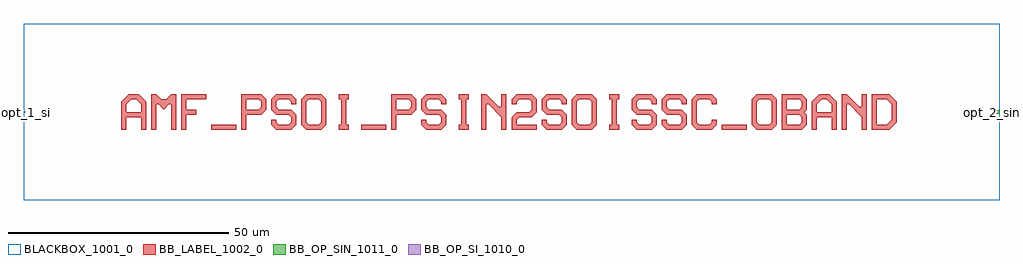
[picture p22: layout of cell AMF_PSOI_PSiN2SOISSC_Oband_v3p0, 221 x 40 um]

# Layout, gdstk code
import gdstk
lib = gdstk.Library(unit=1e-6, precision=1e-09)
def R(c, l, rs):  # rectangles x0, y0, x1, y1
    for r in rs: c.add(gdstk.rectangle(r[:2], r[2:], *l))
def P(c, l, *ps):  # polygons
    for p in ps: c.add(gdstk.Polygon(p, *l))
BLACKBOX_1001_0 = (1001, 0)
BB_LABEL_1002_0 = (1002, 0)
BB_OP_SI_1010_0 = (1010, 0)
BB_OP_SIN_1011_0 = (1011, 0)

amf_psoi_psin2soissc_oba = lib.new_cell('AMF_PSOI_PSiN2SOISSC_Oband_v3p0')
R(amf_psoi_psin2soissc_oba, BLACKBOX_1001_0, [(0,-20,221,20)])
R(amf_psoi_psin2soissc_oba, BB_LABEL_1002_0, [(42.5,-3.967,48.167,-2.834), (76.5,-3.967,82.167,-2.834), (158.1,-3.967,163.767,-2.834)])
P(amf_psoi_psin2soissc_oba, BB_LABEL_1002_0, [(22.1,-3.967),(22.1,2.266),(23.8,3.966),(26.067,3.966),(27.2,2.833),(24.367,2.833),(23.233,1.7),(23.233,0),(26.633,0),(26.633,1.7),(25.5,2.833),(27.2,2.833),(27.767,2.266),(27.767,-3.967),(26.633,-3.967),(26.633,-1.134),(23.233,-1.134),(23.233,-3.967)],
  [(28.9,-3.967),(28.9,3.966),(30.033,3.966),(31.167,2.833),(32.3,2.833),(33.433,3.966),(34.567,3.966),(34.567,-3.967),(33.433,-3.967),(33.433,1.7),(32.867,1.7),(31.733,0.566),(30.6,1.7),(30.033,1.7),(30.033,-3.967)],
  [(35.7,-3.967),(35.7,3.966),(41.367,3.966),(41.367,2.833),(36.833,2.833),(36.833,0.566),(39.1,0.566),(39.1,-0.567),(36.833,-0.567),(36.833,-3.967)],
  [(49.3,-3.967),(49.3,3.966),(53.833,3.966),(54.967,2.833),(54.967,0.566),(53.833,-0.567),(50.433,-0.567),(50.433,0.566),(53.267,0.566),(53.833,1.133),(53.833,2.266),(53.267,2.833),(50.433,2.833),(50.433,-3.967)],
  [(57.233,-3.967),(56.1,-2.834),(56.1,-1.7),(57.233,-1.7),(57.233,-2.267),(57.8,-2.834),(60.067,-2.834),(60.633,-2.267),(60.633,-1.134),(60.067,-0.567),(57.233,-0.567),(56.1,0.566),(56.1,2.833),(57.233,3.966),(60.633,3.966),(61.767,2.833),(61.767,1.7),(60.633,1.7),(60.633,2.266),(60.067,2.833),(57.8,2.833),(57.233,2.266),(57.233,1.133),(57.8,0.566),(60.633,0.566),(61.767,-0.567),(61.767,-2.834),(60.633,-3.967)],
  [(64.033,-3.967),(62.9,-2.834),(62.9,2.833),(64.033,3.966),(67.433,3.966),(68.567,2.833),(68.567,0),(67.433,0),(67.433,2.266),(66.867,2.833),(64.6,2.833),(64.033,2.266),(64.033,-2.267),(64.6,-2.834),(66.867,-2.834),(67.433,-2.267),(67.433,0),(68.567,0),(68.567,-2.834),(67.433,-3.967)],
  [(71.4,-3.967),(71.4,-2.834),(71.967,-2.834),(71.967,2.833),(71.4,2.833),(71.4,3.966),(73.667,3.966),(73.667,2.833),(73.1,2.833),(73.1,-2.834),(73.667,-2.834),(73.667,-3.967)],
  [(83.3,-3.967),(83.3,3.966),(87.833,3.966),(88.967,2.833),(88.967,0.566),(87.833,-0.567),(84.433,-0.567),(84.433,0.566),(87.267,0.566),(87.833,1.133),(87.833,2.266),(87.267,2.833),(84.433,2.833),(84.433,-3.967)],
  [(91.233,-3.967),(90.1,-2.834),(90.1,-1.7),(91.233,-1.7),(91.233,-2.267),(91.8,-2.834),(94.067,-2.834),(94.633,-2.267),(94.633,-1.134),(94.067,-0.567),(91.233,-0.567),(90.1,0.566),(90.1,2.833),(91.233,3.966),(94.633,3.966),(95.767,2.833),(95.767,1.7),(94.633,1.7),(94.633,2.266),(94.067,2.833),(91.8,2.833),(91.233,2.266),(91.233,1.133),(91.8,0.566),(94.633,0.566),(95.767,-0.567),(95.767,-2.834),(94.633,-3.967)],
  [(98.6,-3.967),(98.6,-2.834),(99.167,-2.834),(99.167,2.833),(98.6,2.833),(98.6,3.966),(100.867,3.966),(100.867,2.833),(100.3,2.833),(100.3,-2.834),(100.867,-2.834),(100.867,-3.967)],
  [(103.7,-3.967),(103.7,3.966),(104.833,3.966),(107.667,1.133),(108.233,1.133),(108.233,3.966),(109.367,3.966),(109.367,-3.967),(108.233,-3.967),(108.233,-1.134),(105.4,1.7),(104.833,1.7),(104.833,-3.967)],
  [(110.5,-3.967),(110.5,-1.134),(111.633,0),(114.467,0),(115.033,0.566),(115.033,2.266),(114.467,2.833),(112.2,2.833),(111.633,2.266),(111.633,1.7),(110.5,1.7),(110.5,2.833),(111.633,3.966),(115.033,3.966),(116.167,2.833),(116.167,0),(115.033,-1.134),(112.2,-1.134),(111.633,-1.7),(111.633,-2.834),(116.167,-2.834),(116.167,-3.967)],
  [(118.433,-3.967),(117.3,-2.834),(117.3,-1.7),(118.433,-1.7),(118.433,-2.267),(119,-2.834),(121.267,-2.834),(121.833,-2.267),(121.833,-1.134),(121.267,-0.567),(118.433,-0.567),(117.3,0.566),(117.3,2.833),(118.433,3.966),(121.833,3.966),(122.967,2.833),(122.967,1.7),(121.833,1.7),(121.833,2.266),(121.267,2.833),(119,2.833),(118.433,2.266),(118.433,1.133),(119,0.566),(121.833,0.566),(122.967,-0.567),(122.967,-2.834),(121.833,-3.967)],
  [(125.233,-3.967),(124.1,-2.834),(124.1,2.833),(125.233,3.966),(128.633,3.966),(129.767,2.833),(129.767,0),(128.633,0),(128.633,2.266),(128.067,2.833),(125.8,2.833),(125.233,2.266),(125.233,-2.267),(125.8,-2.834),(128.067,-2.834),(128.633,-2.267),(128.633,0),(129.767,0),(129.767,-2.834),(128.633,-3.967)],
  [(132.6,-3.967),(132.6,-2.834),(133.167,-2.834),(133.167,2.833),(132.6,2.833),(132.6,3.966),(134.867,3.966),(134.867,2.833),(134.3,2.833),(134.3,-2.834),(134.867,-2.834),(134.867,-3.967)],
  [(138.833,-3.967),(137.7,-2.834),(137.7,-1.7),(138.833,-1.7),(138.833,-2.267),(139.4,-2.834),(141.667,-2.834),(142.233,-2.267),(142.233,-1.134),(141.667,-0.567),(138.833,-0.567),(137.7,0.566),(137.7,2.833),(138.833,3.966),(142.233,3.966),(143.367,2.833),(143.367,1.7),(142.233,1.7),(142.233,2.266),(141.667,2.833),(139.4,2.833),(138.833,2.266),(138.833,1.133),(139.4,0.566),(142.233,0.566),(143.367,-0.567),(143.367,-2.834),(142.233,-3.967)],
  [(145.633,-3.967),(144.5,-2.834),(144.5,-1.7),(145.633,-1.7),(145.633,-2.267),(146.2,-2.834),(148.467,-2.834),(149.033,-2.267),(149.033,-1.134),(148.467,-0.567),(145.633,-0.567),(144.5,0.566),(144.5,2.833),(145.633,3.966),(149.033,3.966),(150.167,2.833),(150.167,1.7),(149.033,1.7),(149.033,2.266),(148.467,2.833),(146.2,2.833),(145.633,2.266),(145.633,1.133),(146.2,0.566),(149.033,0.566),(150.167,-0.567),(150.167,-2.834),(149.033,-3.967)],
  [(152.433,-3.967),(151.3,-2.834),(151.3,2.833),(152.433,3.966),(155.833,3.966),(156.967,2.833),(156.967,1.7),(155.833,1.7),(155.833,2.266),(155.267,2.833),(153,2.833),(152.433,2.266),(152.433,-2.267),(153,-2.834),(155.267,-2.834),(155.833,-2.267),(155.833,-1.7),(156.967,-1.7),(156.967,-2.834),(155.833,-3.967)],
  [(166.033,-3.967),(164.9,-2.834),(164.9,2.833),(166.033,3.966),(169.433,3.966),(170.567,2.833),(170.567,0),(169.433,0),(169.433,2.266),(168.867,2.833),(166.6,2.833),(166.033,2.266),(166.033,-2.267),(166.6,-2.834),(168.867,-2.834),(169.433,-2.267),(169.433,0),(170.567,0),(170.567,-2.834),(169.433,-3.967)],
  [(171.7,-3.967),(171.7,3.966),(176.233,3.966),(177.367,2.833),(172.833,2.833),(172.833,0.566),(175.667,0.566),(176.233,1.133),(176.233,2.266),(175.667,2.833),(177.367,2.833),(177.367,0.566),(176.8,0),(177.367,-0.567),(172.833,-0.567),(172.833,-2.834),(175.667,-2.834),(176.233,-2.267),(176.233,-1.134),(175.667,-0.567),(177.367,-0.567),(177.367,-2.834),(176.233,-3.967)],
  [(178.5,-3.967),(178.5,2.266),(180.2,3.966),(182.467,3.966),(183.6,2.833),(180.767,2.833),(179.633,1.7),(179.633,0),(183.033,0),(183.033,1.7),(181.9,2.833),(183.6,2.833),(184.167,2.266),(184.167,-3.967),(183.033,-3.967),(183.033,-1.134),(179.633,-1.134),(179.633,-3.967)],
  [(185.3,-3.967),(185.3,3.966),(186.433,3.966),(189.267,1.133),(189.833,1.133),(189.833,3.966),(190.967,3.966),(190.967,-3.967),(189.833,-3.967),(189.833,-1.134),(187,1.7),(186.433,1.7),(186.433,-3.967)],
  [(192.1,-3.967),(192.1,3.966),(196.067,3.966),(197.2,2.833),(193.233,2.833),(193.233,-2.834),(195.5,-2.834),(196.633,-1.7),(196.633,1.7),(195.5,2.833),(197.2,2.833),(197.767,2.266),(197.767,-2.267),(196.067,-3.967)])
R(amf_psoi_psin2soissc_oba, BB_OP_SI_1010_0, [(0,-0.205,0.41,0.205)])
R(amf_psoi_psin2soissc_oba, BB_OP_SIN_1011_0, [(220.2,-0.4,221,0.4)])
amf_psoi_psin2soissc_oba.add(gdstk.Label('opt_1_si', (0,0), layer=1010, texttype=0))
amf_psoi_psin2soissc_oba.add(gdstk.Label('opt_2_sin', (221,0), layer=1011, texttype=0))

lib.write_gds('AMF_PSOI_PSiN2SOISSC_Oband_v3p0.gds')
